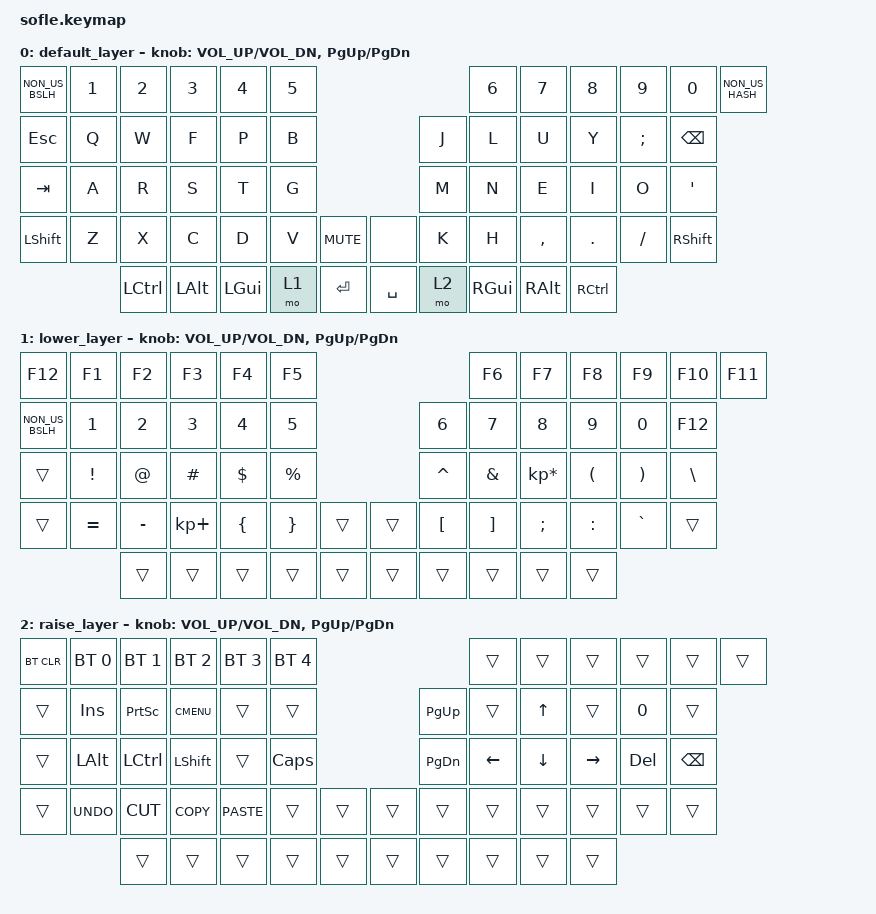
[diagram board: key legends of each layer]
/*
 * Copyright (c) 2020 The ZMK Contributors
 *
 * SPDX-License-Identifier: MIT
 */

#include <behaviors.dtsi>
#include <dt-bindings/zmk/keys.h>
#include <dt-bindings/zmk/bt.h>

/ {
    keymap {
        compatible = "zmk,keymap";

        default_layer {
// ------------------------------------------------------------------------------------------------------------
// |  `    |  1  |  2  |  3   |  4   |  5   |                   |  6   |  7    |  8    |  9   |   0   |   #   |
// |  ESC  |  Q  |  W  |  F   |  P   |  B   |                   |  J   |  L    |  U    |  Y   |   ;   | BKSPC |
// |  TAB  |  A  |  R  |  S   |  T   |  G   |                   |  M   |  N    |  E    |  I   |   O   |   '   |
// | SHIFT |  Z  |  X  |  C   |  D   |  V   |  MUTE  |  |       |  K   |  H    |  ,    |  .   |   /   | SHIFT |
//               |CTRL | ALT  | GUI  | LOWER|  ENTER |  | SPACE | RAISE| GUI   | ALT   | CTRL |
            bindings = <
&kp NON_US_BSLH &kp N1 &kp N2   &kp N3   &kp N4    &kp N5                      &kp N6 &kp N7    &kp N8    &kp N9   &kp N0   &kp NON_US_HASH
&kp ESC   &kp Q  &kp W    &kp F    &kp P     &kp B                       &kp J  &kp L     &kp U     &kp Y    &kp SEMI &kp BSPC
&kp TAB   &kp A  &kp R    &kp S    &kp T     &kp G                       &kp M  &kp N     &kp E     &kp I    &kp O    &kp SQT
&kp LSHFT &kp Z  &kp X    &kp C    &kp D     &kp V  &kp C_MUTE &none     &kp K  &kp H     &kp COMMA &kp DOT  &kp FSLH &kp RSHFT
                 &kp LCTRL &kp LALT &kp LGUI &mo 1  &kp RET    &kp SPACE &mo 2  &kp RGUI &kp RALT  &kp RCTRL
            >;

            sensor-bindings = <&inc_dec_kp C_VOL_UP C_VOL_DN &inc_dec_kp PG_UP PG_DN>;
        };

        lower_layer {
// TODO: Some binds are waiting for shifted keycode support.
// ------------------------------------------------------------------------------------------------------------
// |       |  F1 |  F2 |  F3  |  F4  |  F5  |                   |  F6  |  F7   |  F8   |  F9  |  F10  |  F11  |
// | `     |   1 |   2 |   3  |   4  |   5  |                   |   6  |   7   |   8   |   9  |    0  |  F12  |
// |  TAB  |  !  |  "  |  £   |  $   |  %   |                   |  ^   |  &    |  *    |  (   |   )   |   |   |
// | SHIFT |  =  |  -  |  +   |  {   |  }   |        |  |       |  [   |  ]    |  ;    |  :   |   \   | SHIFT |
//               |CTRL | ALT  | GUI  | LOWER|  ENTER |  | SPACE | RAISE| GUI   | ALT   | CTRL |
            bindings = <
&kp F12    &kp F1    &kp F2    &kp F3      &kp F4    &kp F5                    &kp F6    &kp F7   &kp F8          &kp F9    &kp F10   &kp F11
&kp NON_US_BSLH &kp N1    &kp N2    &kp N3      &kp N4    &kp N5                    &kp N6    &kp N7   &kp N8          &kp N9    &kp N0    &kp F12
&trans    &kp EXCL  &kp AT    &kp HASH    &kp DLLR  &kp PRCNT                 &kp CARET &kp AMPS &kp KP_MULTIPLY &kp LPAR  &kp RPAR  &kp BSLH
&trans    &kp EQUAL &kp MINUS &kp KP_PLUS &kp LBRC  &kp RBRC  &trans   &trans &kp LBKT  &kp RBKT &kp SEMI        &kp COLON &kp GRAVE  &trans
                    &trans    &trans      &trans    &trans    &trans   &trans &trans    &trans   &trans          &trans
            >;

            sensor-bindings = <&inc_dec_kp C_VOL_UP C_VOL_DN &inc_dec_kp PG_UP PG_DN>;
        };

        raise_layer {
// ------------------------------------------------------------------------------------------------------------
// |BTCLR| BT1  | BT2  |  BT3  |  BT4  |  BT5 |                |      |      |       |      |       |       |
// |     | INS  | PSCR | GUI   |       |      |                | PGUP |      |   ^   |      |       |       |
// |     | ALT  | CTRL | SHIFT |       | CAPS |                | PGDN |   <- |   v   |  ->  |  DEL  | BKSPC |
// |     | UNDO | CUT  | COPY  | PASTE |      |      |  |      |      |      |       |      |       |       |
//              |      |       |       |      |      |  |      |      |      |       |      |
            bindings = <
&bt BT_CLR &bt BT_SEL 0 &bt BT_SEL 1 &bt BT_SEL 2 &bt BT_SEL 3 &bt BT_SEL 4             &trans    &trans    &trans   &trans    &trans  &trans
&trans     &kp INS      &kp PSCRN    &kp K_CMENU  &trans       &trans                   &kp PG_UP &trans    &kp UP   &trans    &kp N0  &trans
&trans     &kp LALT     &kp LCTRL    &kp LSHFT    &trans       &kp CLCK                 &kp PG_DN &kp LEFT  &kp DOWN &kp RIGHT &kp DEL &kp BSPC
&trans     &kp K_UNDO   &kp K_CUT    &kp K_COPY   &kp K_PASTE  &trans  &trans   &trans  &trans    &trans    &trans   &trans    &trans  &trans
                        &trans       &trans       &trans       &trans  &trans   &trans  &trans    &trans    &trans   &trans
            >;

            sensor-bindings = <&inc_dec_kp C_VOL_UP C_VOL_DN &inc_dec_kp PG_UP PG_DN>;
        };
    };
};
